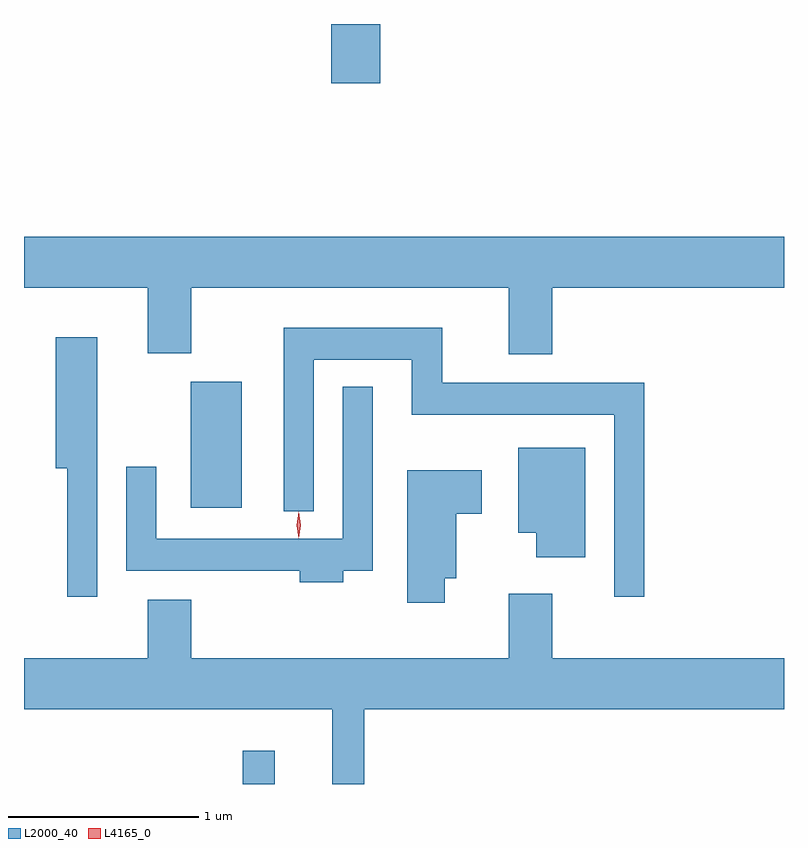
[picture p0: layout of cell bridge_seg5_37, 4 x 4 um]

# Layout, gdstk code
import gdstk
lib = gdstk.Library(unit=1e-6, precision=1e-09)
def R(c, l, rs):  # rectangles x0, y0, x1, y1
    for r in rs: c.add(gdstk.rectangle(r[:2], r[2:], *l))
def P(c, l, *ps):  # polygons
    for p in ps: c.add(gdstk.Polygon(p, *l))
L2000_40 = (2000, 40)
L4165_0 = (4165, 0)

bridge_seg5_37 = lib.new_cell('bridge_seg5_37')
R(bridge_seg5_37, L2000_40, [(1345.521,1463.063,1345.689,1463.238), (1345.246,1464.516,1345.514,1465.179), (1345.986,1466.751,1346.244,1467.063)])
P(bridge_seg5_37, L2000_40, [(1347.149,1465.676),(1348.369,1465.676),(1348.369,1465.944),(1344.369,1465.944),(1344.369,1465.676),(1345.021,1465.676),(1345.021,1465.331),(1345.249,1465.331),(1345.249,1465.676),(1346.921,1465.676),(1346.921,1465.326),(1347.149,1465.326)],
  [(1347.634,1465.174),(1346.569,1465.174),(1346.569,1465.464),(1345.736,1465.464),(1345.736,1464.498),(1345.894,1464.498),(1345.894,1465.296),(1346.411,1465.296),(1346.411,1465.006),(1347.476,1465.006),(1347.476,1464.048),(1347.634,1464.048)],
  [(1344.754,1465.414),(1344.536,1465.414),(1344.536,1464.726),(1344.596,1464.726),(1344.596,1464.048),(1344.754,1464.048)],
  [(1346.049,1464.186),(1346.204,1464.186),(1346.204,1465.153),(1346.046,1465.153),(1346.046,1464.354),(1345.064,1464.354),(1345.064,1464.733),(1344.906,1464.733),(1344.906,1464.186),(1345.821,1464.186),(1345.821,1464.126),(1346.049,1464.126)],
  [(1347.324,1464.834),(1346.971,1464.834),(1346.971,1464.386),(1347.066,1464.386),(1347.066,1464.256),(1347.324,1464.256)],
  [(1346.584,1464.146),(1346.644,1464.146),(1346.644,1464.486),(1346.779,1464.486),(1346.779,1464.714),(1346.386,1464.714),(1346.386,1464.016),(1346.584,1464.016)],
  [(1346.159,1463.456),(1348.369,1463.456),(1348.369,1463.724),(1347.149,1463.724),(1347.149,1464.064),(1346.921,1464.064),(1346.921,1463.724),(1345.249,1463.724),(1345.249,1464.034),(1345.021,1464.034),(1345.021,1463.724),(1344.369,1463.724),(1344.369,1463.456),(1345.991,1463.456),(1345.991,1463.063),(1346.159,1463.063)])
P(bridge_seg5_37, L4165_0, [(1345.814,1464.357),(1345.805,1464.426),(1345.814,1464.496),(1345.815,1464.496),(1345.815,1464.496),(1345.825,1464.426),(1345.815,1464.357),(1345.815,1464.357)])

lib.write_gds('bridge_seg5_37.gds')
